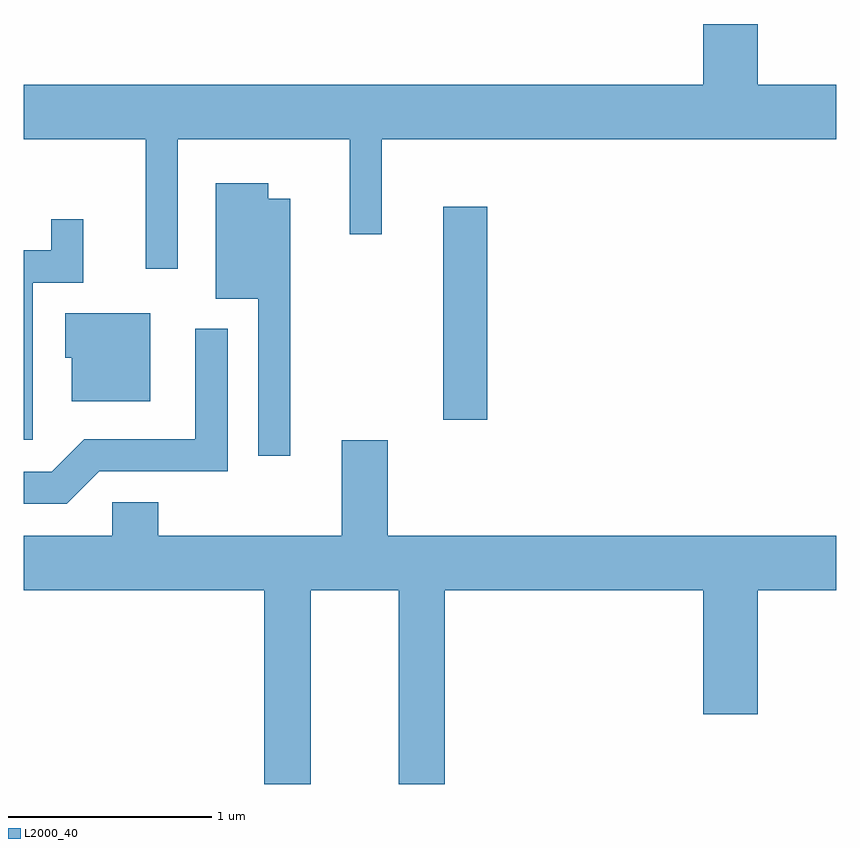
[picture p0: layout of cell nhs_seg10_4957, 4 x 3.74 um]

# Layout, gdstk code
import gdstk
lib = gdstk.Library(unit=1e-6, precision=1e-09)
def R(c, l, rs):  # rectangles x0, y0, x1, y1
    for r in rs: c.add(gdstk.rectangle(r[:2], r[2:], *l))
def P(c, l, *ps):  # polygons
    for p in ps: c.add(gdstk.Polygon(p, *l))
L2000_40 = (2000, 40)

nhs_seg10_4957 = lib.new_cell('nhs_seg10_4957')
R(nhs_seg10_4957, L2000_40, [(333.676,2110.316,333.894,2111.364)])
P(nhs_seg10_4957, L2000_40, [(332.369,2111.696),(333.216,2111.696),(333.216,2111.228),(333.374,2111.228),(333.374,2111.696),(335.611,2111.696),(335.611,2111.964),(335.224,2111.964),(335.224,2112.264),(334.956,2112.264),(334.956,2111.964),(331.611,2111.964),(331.611,2111.696),(332.211,2111.696),(332.211,2111.058),(332.369,2111.058)],
  [(332.924,2111.404),(332.814,2111.404),(332.814,2111.479),(332.556,2111.479),(332.556,2110.911),(332.766,2110.911),(332.766,2110.138),(332.924,2110.138)],
  [(331.654,2110.991),(331.904,2110.991),(331.904,2111.303),(331.746,2111.303),(331.746,2111.149),(331.611,2111.149),(331.611,2110.216),(331.654,2110.216)],
  [(332.234,2110.839),(331.816,2110.839),(331.816,2110.621),(331.846,2110.621),(331.846,2110.406),(332.234,2110.406)],
  [(331.982,2110.061),(332.614,2110.061),(332.614,2110.763),(332.456,2110.763),(332.456,2110.219),(331.909,2110.219),(331.749,2110.059),(331.611,2110.059),(331.611,2109.901),(331.822,2109.901)],
  [(333.024,2109.476),(333.456,2109.476),(333.456,2108.522),(333.684,2108.522),(333.684,2109.476),(334.956,2109.476),(334.956,2108.866),(335.224,2108.866),(335.224,2109.476),(335.611,2109.476),(335.611,2109.744),(333.404,2109.744),(333.404,2110.214),(333.176,2110.214),(333.176,2109.744),(332.274,2109.744),(332.274,2109.909),(332.046,2109.909),(332.046,2109.744),(331.611,2109.744),(331.611,2109.476),(332.796,2109.476),(332.796,2108.522),(333.024,2108.522)])

lib.write_gds('nhs_seg10_4957.gds')
